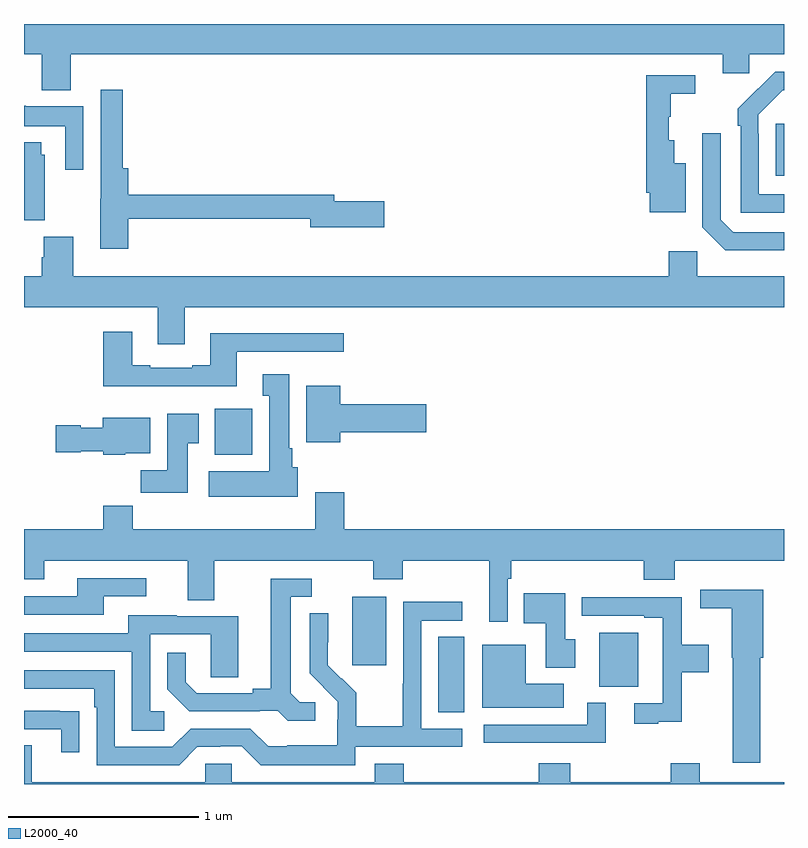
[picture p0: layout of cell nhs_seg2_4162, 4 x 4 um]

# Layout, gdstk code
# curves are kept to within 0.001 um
import gdstk
lib = gdstk.Library(unit=1e-6, precision=1e-09)
def R(c, l, rs):  # rectangles x0, y0, x1, y1
    for r in rs: c.add(gdstk.rectangle(r[:2], r[2:], *l))
def P(c, l, *ps):  # polygons
    for p in ps: c.add(gdstk.Polygon(p, *l))
L2000_40 = (2000, 40)

nhs_seg2_4162 = lib.new_cell('nhs_seg2_4162')
R(nhs_seg2_4162, L2000_40, [(337.181,640.177,337.318,640.574), (338.027,640.313,338.233,640.597), (336.728,640.425,336.907,640.786), (336.005,641.534,336.202,641.776), (338.957,643.001,339,643.276)])
P(nhs_seg2_4162, L2000_40, [(335.245,643.64),(338.678,643.64),(338.678,643.542),(338.817,643.542),(338.817,643.64),(339,643.64),(339,643.8),(335,643.8),(335,643.64),(335.093,643.64),(335.093,643.451),(335.245,643.451)],
  [(339,642.903),(338.868,642.903),(338.868,643.223),(338.865,643.223),(338.865,643.323),(338.994,643.452),(339,643.452),(339,643.548),(338.954,643.548),(338.757,643.353),(338.757,643.265),(338.772,643.265),(338.772,642.807),(339,642.807)],
  [(338.482,643.066),(338.422,643.066),(338.422,643.189),(338.393,643.189),(338.393,643.311),(338.404,643.311),(338.404,643.432),(338.533,643.432),(338.533,643.53),(338.275,643.53),(338.275,642.913),(338.294,642.913),(338.294,642.809),(338.482,642.809)],
  [(335.549,642.774),(336.506,642.774),(336.506,642.731),(336.895,642.731),(336.895,642.866),(336.634,642.866),(336.634,642.902),(335.549,642.902),(335.549,643.042),(335.519,643.042),(335.519,643.453),(335.403,643.453),(335.403,642.879),(335.402,642.879),(335.402,642.618),(335.549,642.618)],
  [(335.313,643.366),(335.009,643.366),(335.009,643.369),(335,643.369),(335,643.262),(335.217,643.262),(335.217,643.032),(335.313,643.032)],
  [(339,642.705),(338.733,642.705),(338.667,642.771),(338.667,643.225),(338.571,643.225),(338.571,642.729),(338.692,642.608),(339,642.608)],
  [(335.11,643.113),(335.092,643.113),(335.092,643.177),(335,643.177),(335,642.766),(335.11,642.766)],
  [(335.845,642.308),(339,642.308),(339,642.472),(338.544,642.472),(338.544,642.604),(338.393,642.604),(338.393,642.472),(335.258,642.472),(335.258,642.681),(335.105,642.681),(335.105,642.572),(335.093,642.572),(335.093,642.472),(335,642.472),(335,642.308),(335.705,642.308),(335.705,642.114),(335.845,642.114)],
  [(336.121,642.075),(336.682,642.075),(336.682,642.172),(335.981,642.172),(335.981,642.004),(335.885,642.004),(335.885,641.991),(335.665,641.991),(335.665,642.004),(335.569,642.004),(335.569,642.181),(335.417,642.181),(335.417,641.894),(336.121,641.894)],
  [(336.442,641.466),(336.412,641.466),(336.412,641.566),(336.397,641.566),(336.397,641.956),(336.257,641.956),(336.257,641.843),(336.29,641.843),(336.29,641.446),(335.973,641.446),(335.973,641.312),(336.442,641.312)],
  [(336.664,641.651),(337.117,641.651),(337.117,641.798),(336.664,641.798),(336.664,641.896),(336.485,641.896),(336.485,641.6),(336.664,641.6)],
  [(335.863,641.593),(335.92,641.593),(335.92,641.749),(335.753,641.749),(335.753,641.452),(335.614,641.452),(335.614,641.334),(335.863,641.334)],
  [(335.532,641.54),(335.665,641.54),(335.665,641.728),(335.414,641.728),(335.414,641.674),(335.298,641.674),(335.298,641.687),(335.166,641.687),(335.166,641.545),(335.298,641.545),(335.298,641.552),(335.418,641.552),(335.418,641.534),(335.532,641.534)],
  [(337.545,640.88),(337.565,640.88),(337.565,640.976),(338.261,640.976),(338.261,640.874),(338.426,640.874),(338.426,640.976),(339,640.976),(339,641.14),(336.686,641.14),(336.686,641.335),(336.533,641.335),(336.533,641.14),(335.573,641.14),(335.573,641.264),(335.417,641.264),(335.417,641.14),(335,641.14),(335,640.877),(335.107,640.877),(335.107,640.976),(335.861,640.976),(335.861,640.768),(336.001,640.768),(336.001,640.976),(336.838,640.976),(336.838,640.877),(336.993,640.877),(336.993,640.976),(337.448,640.976),(337.448,640.653),(337.545,640.653)],
  [(335.419,640.788),(335.644,640.788),(335.644,640.884),(335.279,640.884),(335.279,640.788),(335,640.788),(335,640.692),(335.419,640.692)],
  [(336.532,640.23),(336.45,640.23),(336.403,640.277),(336.403,640.785),(336.514,640.785),(336.514,640.881),(336.299,640.881),(336.299,640.301),(336.203,640.301),(336.203,640.278),(335.908,640.278),(335.851,640.335),(335.851,640.492),(335.754,640.492),(335.754,640.298),(335.87,640.182),(336.242,640.182),(336.242,640.185),(336.336,640.185),(336.388,640.133),(336.532,640.133)],
  [(338.874,640.464),(338.892,640.464),(338.892,640.822),(338.559,640.822),(338.559,640.724),(338.726,640.724),(338.726,640.464),(338.729,640.464),(338.729,639.912),(338.874,639.912)],
  [(337.9,640.563),(337.849,640.563),(337.849,640.804),(337.63,640.804),(337.63,640.646),(337.745,640.646),(337.745,640.412),(337.9,640.412)],
  [(338.339,640.127),(338.462,640.127),(338.462,640.387),(338.605,640.387),(338.605,640.534),(338.462,640.534),(338.462,640.782),(338.177,640.782),(338.177,640.784),(337.935,640.784),(337.935,640.686),(338.264,640.686),(338.264,640.674),(338.361,640.674),(338.361,640.224),(338.211,640.224),(338.211,640.116),(338.339,640.116)],
  [(336.744,639.996),(337.306,639.996),(337.306,640.092),(337.092,640.092),(337.092,640.659),(337.306,640.659),(337.306,640.758),(336.996,640.758),(336.996,640.328),(336.994,640.328),(336.994,640.105),(336.749,640.105),(336.749,640.279),(336.672,640.356),(336.669,640.353),(336.599,640.424),(336.6,640.7),(336.504,640.7),(336.504,640.382),(336.65,640.234),(336.65,640.137),(336.648,640.137),(336.648,640.003),(336.385,640.003),(336.385,639.999),(336.285,639.999),(336.192,640.092),(335.877,640.092),(335.781,639.996),(335.478,639.996),(335.478,640.398),(335,640.398),(335,640.302),(335.369,640.302),(335.369,640.205),(335.382,640.205),(335.382,639.9),(335.817,639.9),(335.913,639.996),(336.032,639.996),(336.032,639.999),(336.147,639.999),(336.247,639.899),(336.744,639.899)],
  [(335.737,640.182),(335.664,640.182),(335.664,640.587),(335.982,640.587),(335.982,640.363),(336.127,640.363),(336.127,640.683),(335.803,640.683),(335.803,640.687),(335.549,640.687),(335.549,640.593),(335,640.593),(335,640.497),(335.568,640.497),(335.568,640.081),(335.737,640.081)],
  [(337.84,640.327),(337.642,640.327),(337.642,640.534),(337.412,640.534),(337.412,640.202),(337.84,640.202)],
  [(338.062,640.228),(337.965,640.228),(337.965,640.113),(337.419,640.113),(337.419,640.017),(338.062,640.017)],
  [(335.291,640.184),(335.189,640.184),(335.189,640.185),(335,640.185),(335,640.089),(335.195,640.089),(335.195,639.966),(335.291,639.966)],
  [(339,639.808),(338.557,639.808),(338.557,639.91),(338.405,639.91),(338.405,639.808),(337.874,639.808),(337.874,639.91),(337.709,639.91),(337.709,639.808),(336.998,639.808),(336.998,639.907),(336.845,639.907),(336.845,639.808),(336.093,639.808),(336.093,639.906),(335.955,639.906),(335.955,639.808),(335.041,639.808),(335.041,640.003),(335,640.003),(335,639.8),(339,639.8)])

lib.write_gds('nhs_seg2_4162.gds')
